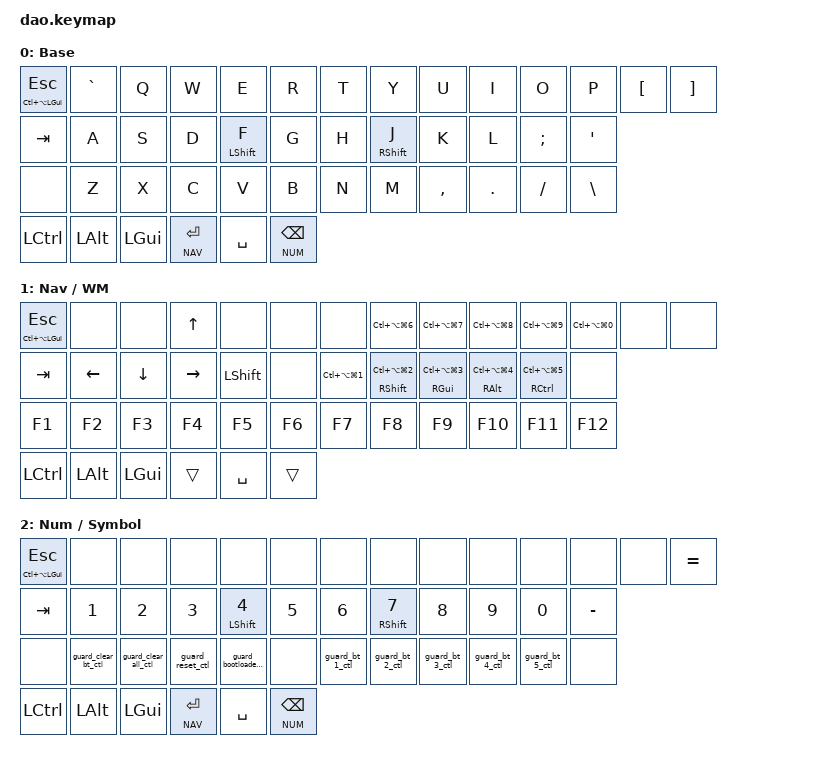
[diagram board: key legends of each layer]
/* Generated by dao44-config. Edit src/layout.rs, then run `just dev generate`. */
#include <behaviors.dtsi>
#include <dt-bindings/zmk/keys.h>
#include <dt-bindings/zmk/bt.h>
#include <dt-bindings/zmk/modifiers.h>

#define BASE 0
#define NAV 1
#define NUM 2

&lt { flavor = "hold-preferred"; tapping-term-ms = <220>; };
&mt { tapping-term-ms = <220>; };

/ {
chosen {
zmk,physical-layout = &dao_full_layout;
};

behaviors {
        shift_tap: shift_tap {
            compatible = "zmk,behavior-hold-tap";
            #binding-cells = <2>;
            flavor = "tap-preferred";
            tapping-term-ms = <180>;
            bindings = <&kp>, <&kp>;
        };

        guard_clear_bt_gui: guard_clear_bt_gui {
            compatible = "zmk,behavior-mod-morph";
            #binding-cells = <0>;
            bindings = <&none>, <&bt BT_CLR>;
            mods = <MOD_LGUI>;
        };
        guard_clear_bt_alt: guard_clear_bt_alt {
            compatible = "zmk,behavior-mod-morph";
            #binding-cells = <0>;
            bindings = <&none>, <&guard_clear_bt_gui>;
            mods = <MOD_LALT>;
        };
        guard_clear_bt_ctl: guard_clear_bt_ctl {
            compatible = "zmk,behavior-mod-morph";
            #binding-cells = <0>;
            bindings = <&none>, <&guard_clear_bt_alt>;
            mods = <MOD_LCTL>;
        };

        guard_clear_all_gui: guard_clear_all_gui {
            compatible = "zmk,behavior-mod-morph";
            #binding-cells = <0>;
            bindings = <&none>, <&bt BT_CLR_ALL>;
            mods = <MOD_LGUI>;
        };
        guard_clear_all_alt: guard_clear_all_alt {
            compatible = "zmk,behavior-mod-morph";
            #binding-cells = <0>;
            bindings = <&none>, <&guard_clear_all_gui>;
            mods = <MOD_LALT>;
        };
        guard_clear_all_ctl: guard_clear_all_ctl {
            compatible = "zmk,behavior-mod-morph";
            #binding-cells = <0>;
            bindings = <&none>, <&guard_clear_all_alt>;
            mods = <MOD_LCTL>;
        };

        guard_reset_gui: guard_reset_gui {
            compatible = "zmk,behavior-mod-morph";
            #binding-cells = <0>;
            bindings = <&none>, <&sys_reset>;
            mods = <MOD_LGUI>;
        };
        guard_reset_alt: guard_reset_alt {
            compatible = "zmk,behavior-mod-morph";
            #binding-cells = <0>;
            bindings = <&none>, <&guard_reset_gui>;
            mods = <MOD_LALT>;
        };
        guard_reset_ctl: guard_reset_ctl {
            compatible = "zmk,behavior-mod-morph";
            #binding-cells = <0>;
            bindings = <&none>, <&guard_reset_alt>;
            mods = <MOD_LCTL>;
        };

        guard_bootloader_gui: guard_bootloader_gui {
            compatible = "zmk,behavior-mod-morph";
            #binding-cells = <0>;
            bindings = <&none>, <&bootloader>;
            mods = <MOD_LGUI>;
        };
        guard_bootloader_alt: guard_bootloader_alt {
            compatible = "zmk,behavior-mod-morph";
            #binding-cells = <0>;
            bindings = <&none>, <&guard_bootloader_gui>;
            mods = <MOD_LALT>;
        };
        guard_bootloader_ctl: guard_bootloader_ctl {
            compatible = "zmk,behavior-mod-morph";
            #binding-cells = <0>;
            bindings = <&none>, <&guard_bootloader_alt>;
            mods = <MOD_LCTL>;
        };

        guard_bt_1_gui: guard_bt_1_gui {
            compatible = "zmk,behavior-mod-morph";
            #binding-cells = <0>;
            bindings = <&none>, <&bt BT_SEL 0>;
            mods = <MOD_LGUI>;
        };
        guard_bt_1_alt: guard_bt_1_alt {
            compatible = "zmk,behavior-mod-morph";
            #binding-cells = <0>;
            bindings = <&none>, <&guard_bt_1_gui>;
            mods = <MOD_LALT>;
        };
        guard_bt_1_ctl: guard_bt_1_ctl {
            compatible = "zmk,behavior-mod-morph";
            #binding-cells = <0>;
            bindings = <&none>, <&guard_bt_1_alt>;
            mods = <MOD_LCTL>;
        };

        guard_bt_2_gui: guard_bt_2_gui {
            compatible = "zmk,behavior-mod-morph";
            #binding-cells = <0>;
            bindings = <&none>, <&bt BT_SEL 1>;
            mods = <MOD_LGUI>;
        };
        guard_bt_2_alt: guard_bt_2_alt {
            compatible = "zmk,behavior-mod-morph";
            #binding-cells = <0>;
            bindings = <&none>, <&guard_bt_2_gui>;
            mods = <MOD_LALT>;
        };
        guard_bt_2_ctl: guard_bt_2_ctl {
            compatible = "zmk,behavior-mod-morph";
            #binding-cells = <0>;
            bindings = <&none>, <&guard_bt_2_alt>;
            mods = <MOD_LCTL>;
        };

        guard_bt_3_gui: guard_bt_3_gui {
            compatible = "zmk,behavior-mod-morph";
            #binding-cells = <0>;
            bindings = <&none>, <&bt BT_SEL 2>;
            mods = <MOD_LGUI>;
        };
        guard_bt_3_alt: guard_bt_3_alt {
            compatible = "zmk,behavior-mod-morph";
            #binding-cells = <0>;
            bindings = <&none>, <&guard_bt_3_gui>;
            mods = <MOD_LALT>;
        };
        guard_bt_3_ctl: guard_bt_3_ctl {
            compatible = "zmk,behavior-mod-morph";
            #binding-cells = <0>;
            bindings = <&none>, <&guard_bt_3_alt>;
            mods = <MOD_LCTL>;
        };

        guard_bt_4_gui: guard_bt_4_gui {
            compatible = "zmk,behavior-mod-morph";
            #binding-cells = <0>;
            bindings = <&none>, <&bt BT_SEL 3>;
            mods = <MOD_LGUI>;
        };
        guard_bt_4_alt: guard_bt_4_alt {
            compatible = "zmk,behavior-mod-morph";
            #binding-cells = <0>;
            bindings = <&none>, <&guard_bt_4_gui>;
            mods = <MOD_LALT>;
        };
        guard_bt_4_ctl: guard_bt_4_ctl {
            compatible = "zmk,behavior-mod-morph";
            #binding-cells = <0>;
            bindings = <&none>, <&guard_bt_4_alt>;
            mods = <MOD_LCTL>;
        };

        guard_bt_5_gui: guard_bt_5_gui {
            compatible = "zmk,behavior-mod-morph";
            #binding-cells = <0>;
            bindings = <&none>, <&bt BT_SEL 4>;
            mods = <MOD_LGUI>;
        };
        guard_bt_5_alt: guard_bt_5_alt {
            compatible = "zmk,behavior-mod-morph";
            #binding-cells = <0>;
            bindings = <&none>, <&guard_bt_5_gui>;
            mods = <MOD_LALT>;
        };
        guard_bt_5_ctl: guard_bt_5_ctl {
            compatible = "zmk,behavior-mod-morph";
            #binding-cells = <0>;
            bindings = <&none>, <&guard_bt_5_alt>;
            mods = <MOD_LCTL>;
        };
    };

    keymap {
        compatible = "zmk,keymap";

        base {
            display-name = "Base";
            bindings = <
                &mt LC(LA(LGUI)) ESC          &kp GRAVE                     &kp Q                         &kp W                         &kp E                         &kp R                         &kp T                         &kp Y                         &kp U                         &kp I                         &kp O                         &kp P                         &kp LBKT                      &kp RBKT
                &kp TAB                       &kp A                         &kp S                         &kp D                         &shift_tap LSHFT F            &kp G                         &kp H                         &shift_tap RSHFT J            &kp K                         &kp L                         &kp SEMI                      &kp SQT
                &none                         &kp Z                         &kp X                         &kp C                         &kp V                         &kp B                         &kp N                         &kp M                         &kp COMMA                     &kp DOT                       &kp FSLH                      &kp BSLH
                &kp LCTRL                     &kp LALT                      &kp LGUI                      &lt NAV RET                   &kp SPACE                     &lt NUM BSPC
            >;
        };

        nav_wm {
            display-name = "Nav / WM";
            bindings = <
                &mt LC(LA(LGUI)) ESC          &none                         &none                         &kp UP                        &none                         &none                         &none                         &kp LC(LA(LG(N6)))            &kp LC(LA(LG(N7)))            &kp LC(LA(LG(N8)))            &kp LC(LA(LG(N9)))            &kp LC(LA(LG(N0)))            &none                         &none
                &kp TAB                       &kp LEFT                      &kp DOWN                      &kp RIGHT                     &kp LSHFT                     &none                         &kp LC(LA(LG(N1)))            &mt RSHFT LC(LA(LG(N2)))      &mt RGUI LC(LA(LG(N3)))       &mt RALT LC(LA(LG(N4)))       &mt RCTRL LC(LA(LG(N5)))      &none
                &kp F1                        &kp F2                        &kp F3                        &kp F4                        &kp F5                        &kp F6                        &kp F7                        &kp F8                        &kp F9                        &kp F10                       &kp F11                       &kp F12
                &kp LCTRL                     &kp LALT                      &kp LGUI                      &trans                        &kp SPACE                     &trans
            >;
        };

        num_symbol {
            display-name = "Num / Symbol";
            bindings = <
                &mt LC(LA(LGUI)) ESC          &none                         &none                         &none                         &none                         &none                         &none                         &none                         &none                         &none                         &none                         &none                         &none                         &kp EQUAL
                &kp TAB                       &kp N1                        &kp N2                        &kp N3                        &shift_tap LSHFT N4           &kp N5                        &kp N6                        &shift_tap RSHFT N7           &kp N8                        &kp N9                        &kp N0                        &kp MINUS
                &none                         &guard_clear_bt_ctl           &guard_clear_all_ctl          &guard_reset_ctl              &guard_bootloader_ctl         &none                         &guard_bt_1_ctl               &guard_bt_2_ctl               &guard_bt_3_ctl               &guard_bt_4_ctl               &guard_bt_5_ctl               &none
                &kp LCTRL                     &kp LALT                      &kp LGUI                      &lt NAV RET                   &kp SPACE                     &lt NUM BSPC
            >;
        };
    };
};
